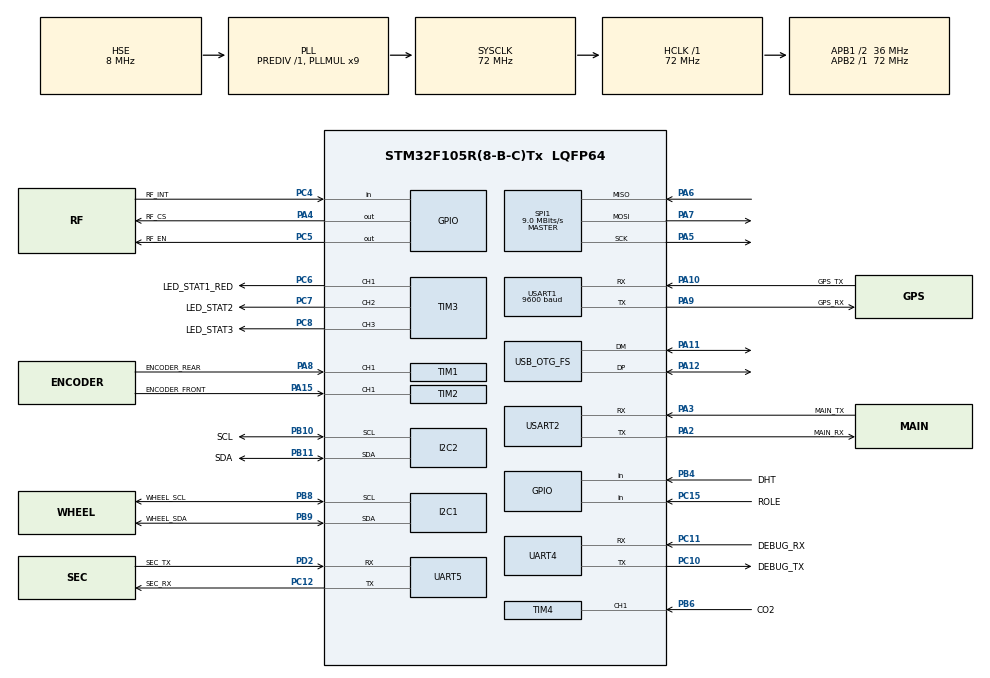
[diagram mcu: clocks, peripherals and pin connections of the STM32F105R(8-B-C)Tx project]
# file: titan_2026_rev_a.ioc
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Dma.Request0=USART1_RX
Dma.Request1=USART2_TX
Dma.USART1_RX.0.Direction=DMA_PERIPH_TO_MEMORY
Dma.USART1_RX.0.Instance=DMA1_Channel5
Dma.USART1_RX.0.MemDataAlignment=DMA_MDATAALIGN_BYTE
Dma.USART1_RX.0.MemInc=DMA_MINC_ENABLE
Dma.USART1_RX.0.Mode=DMA_CIRCULAR
Dma.USART1_RX.0.PeriphDataAlignment=DMA_PDATAALIGN_BYTE
Dma.USART1_RX.0.PeriphInc=DMA_PINC_DISABLE
Dma.USART1_RX.0.Priority=DMA_PRIORITY_MEDIUM
Dma.USART2_TX.1.Direction=DMA_MEMORY_TO_PERIPH
Dma.USART2_TX.1.Instance=DMA1_Channel7
Dma.USART2_TX.1.MemDataAlignment=DMA_MDATAALIGN_BYTE
Dma.USART2_TX.1.MemInc=DMA_MINC_ENABLE
Dma.USART2_TX.1.Mode=DMA_NORMAL
Dma.USART2_TX.1.PeriphDataAlignment=DMA_PDATAALIGN_BYTE
Dma.USART2_TX.1.PeriphInc=DMA_PINC_DISABLE
Dma.USART2_TX.1.Priority=DMA_PRIORITY_LOW
I2C1.I2C_Mode=I2C_Standard
I2C2.I2C_Mode=I2C_Fast
IWDG.Prescaler=IWDG_PRESCALER_16
Mcu.Family=STM32F1
Mcu.Name=STM32F105R(8-B-C)Tx
Mcu.Package=LQFP64
Mcu.UserConstants=REAR_ENC_TIMER,$$_TIM1_IP_HANDLE_$$;PRIM_UART,$$_USART2_IP_HANDLE_$$;DEBUG_UART,$$_UART4_IP_HANDLE_$$;CO2_TIMER,$$_TIM4_IP_HANDLE_$$;FRONT_ENC_TIMER,$$_TIM2_IP_HANDLE_$$;GPS_UART,$$_USART1_IP_HANDLE_$$;LED_TIMER,$$_TIM3_IP_HANDLE_$$;SEC_UART,$$_UART5_IP_HANDLE_$$;WHEEL_I2C,$$_I2C1_IP_HANDLE_$$;MAIN_I2C,$$_I2C2_IP_HANDLE_$$;RADIO_SPI,$$_SPI1_IP_HANDLE_$$;MICROS_TIMER,$$_TIM6_IP_HANDLE_$$
NVIC.DMA1_Channel5_IRQn=true\:0\:0\:false\:false\:true\:false\:true\:true
NVIC.DMA1_Channel7_IRQn=true\:0\:0\:false\:false\:true\:false\:true\:true
NVIC.OTG_FS_IRQn=true\:0\:0\:false\:false\:true\:false\:true\:true
NVIC.PriorityGroup=NVIC_PRIORITYGROUP_4
NVIC.TIM1_CC_IRQn=true\:0\:0\:false\:false\:true\:true\:true\:true
NVIC.TIM2_IRQn=true\:0\:0\:false\:false\:true\:true\:true\:true
NVIC.TIM4_IRQn=true\:0\:0\:false\:false\:true\:true\:true\:true
NVIC.UART5_IRQn=true\:0\:0\:false\:false\:true\:true\:true\:true
NVIC.USART1_IRQn=true\:0\:0\:false\:false\:true\:true\:true\:true
NVIC.USART2_IRQn=true\:0\:0\:false\:false\:true\:true\:true\:true
PA10.GPIO_Label=GPS_TX
PA10.Mode=Asynchronous
PA10.Signal=USART1_RX
PA11.Mode=Device_Only
PA11.Signal=USB_OTG_FS_DM
PA12.Mode=Device_Only
PA12.Signal=USB_OTG_FS_DP
PA13.Mode=Trace_Asynchronous_SW
PA13.Signal=SYS_JTMS-SWDIO
PA14.Mode=Trace_Asynchronous_SW
PA14.Signal=SYS_JTCK-SWCLK
PA15.GPIO_Label=ENCODER_FRONT
PA15.GPIO_PuPd=GPIO_PULLDOWN
PA15.Signal=S_TIM2_CH1_ETR
PA2.GPIO_Label=MAIN_RX
PA2.Mode=Asynchronous
PA2.Signal=USART2_TX
PA3.GPIO_Label=MAIN_TX
PA3.Mode=Asynchronous
PA3.Signal=USART2_RX
PA4.GPIO_Label=RF_CS
PA4.GPIO_Speed=GPIO_SPEED_FREQ_HIGH
PA4.PinState=GPIO_PIN_SET
PA4.Signal=GPIO_Output
PA5.Mode=Full_Duplex_Master
PA5.Signal=SPI1_SCK
PA6.Mode=Full_Duplex_Master
PA6.Signal=SPI1_MISO
PA7.Mode=Full_Duplex_Master
PA7.Signal=SPI1_MOSI
PA8.GPIO_Label=ENCODER_REAR
PA8.GPIO_PuPd=GPIO_PULLDOWN
PA8.Signal=S_TIM1_CH1
PA9.GPIO_Label=GPS_RX
PA9.Mode=Asynchronous
PA9.Signal=USART1_TX
PB10.GPIO_Label=SCL
PB10.Mode=I2C
PB10.Signal=I2C2_SCL
PB11.GPIO_Label=SDA
PB11.Mode=I2C
PB11.Signal=I2C2_SDA
PB3.Mode=Trace_Asynchronous_SW
PB3.Signal=SYS_TRACESWO
PB4.GPIO_Label=DHT
PB4.Signal=GPIO_Input
PB6.GPIO_Label=CO2
PB6.GPIO_PuPd=GPIO_PULLDOWN
PB6.Signal=S_TIM4_CH1
PB8.GPIO_Label=WHEEL_SCL
PB8.Mode=I2C
PB8.Signal=I2C1_SCL
PB9.GPIO_Label=WHEEL_SDA
PB9.Mode=I2C
PB9.Signal=I2C1_SDA
PC10.GPIO_Label=DEBUG_TX
PC10.Mode=Asynchronous
PC10.Signal=UART4_TX
PC11.GPIO_Label=DEBUG_RX
PC11.Mode=Asynchronous
PC11.Signal=UART4_RX
PC12.GPIO_Label=SEC_RX
PC12.Mode=Asynchronous
PC12.Signal=UART5_TX
PC15-OSC32_OUT.GPIO_Label=ROLE
PC15-OSC32_OUT.Signal=GPIO_Input
PC4.GPIO_Label=RF_INT
PC4.GPIO_PuPd=GPIO_PULLUP
PC4.Signal=GPIO_Input
PC5.GPIO_Label=RF_EN
PC5.GPIO_Speed=GPIO_SPEED_FREQ_MEDIUM
PC5.Signal=GPIO_Output
PC6.GPIO_Label=LED_STAT1_RED
PC6.Signal=S_TIM3_CH1
PC7.GPIO_Label=LED_STAT2
PC7.Signal=S_TIM3_CH2
PC8.GPIO_Label=LED_STAT3
PC8.Signal=S_TIM3_CH3
PD0-OSC_IN.Mode=HSE-External-Oscillator
PD0-OSC_IN.Signal=RCC_OSC_IN
PD1-OSC_OUT.Mode=HSE-External-Oscillator
PD1-OSC_OUT.Signal=RCC_OSC_OUT
PD2.GPIO_Label=SEC_TX
PD2.Mode=Asynchronous
PD2.Signal=UART5_RX
ProjectManager.HeapSize=0x200
ProjectManager.StackSize=0x400
ProjectManager.TargetToolchain=STM32CubeIDE
RCC.AHBFreq_Value=72000000
RCC.APB1CLKDivider=RCC_HCLK_DIV2
RCC.APB1Freq_Value=36000000
RCC.APB1TimFreq_Value=72000000
RCC.APB2Freq_Value=72000000
RCC.APB2TimFreq_Value=72000000
RCC.HCLKFreq_Value=72000000
RCC.PLLMUL=RCC_PLL_MUL9
RCC.SYSCLKFreq_VALUE=72000000
RCC.SYSCLKSource=RCC_SYSCLKSOURCE_PLLCLK
RCC.USBFreq_Value=48000000
SH.S_TIM1_CH1.0=TIM1_CH1,Input_Capture1_from_TI1
SH.S_TIM1_CH1.1=TIM1_CH1,TriggerSource_TI1FP1
SH.S_TIM2_CH1_ETR.0=TIM2_CH1,Input_Capture1_from_TI1
SH.S_TIM2_CH1_ETR.1=TIM2_CH1,TriggerSource_TI1FP1
SH.S_TIM3_CH1.0=TIM3_CH1,PWM Generation1 CH1
SH.S_TIM3_CH2.0=TIM3_CH2,PWM Generation2 CH2
SH.S_TIM3_CH3.0=TIM3_CH3,PWM Generation3 CH3
SH.S_TIM4_CH1.0=TIM4_CH1,PWM_Input_1
SPI1.BaudRatePrescaler=SPI_BAUDRATEPRESCALER_8
SPI1.CalculateBaudRate=9.0 MBits/s
SPI1.Direction=SPI_DIRECTION_2LINES
SPI1.Mode=SPI_MODE_MASTER
SPI1.VirtualType=VM_MASTER
TIM1.Channel-Input_Capture1_from_TI1=TIM_CHANNEL_1
TIM1.Channel-Output\ Compare2\ No\ Output=TIM_CHANNEL_2
TIM1.ICFilter_CH1=10
TIM1.OCMode_2=TIM_OCMODE_TOGGLE
TIM1.Prescaler=215
TIM1.Pulse-Output\ Compare2\ No\ Output=65000
TIM1.TIM_MasterOutputTrigger=TIM_TRGO_UPDATE
TIM2.AutoReloadPreload=TIM_AUTORELOAD_PRELOAD_DISABLE
TIM2.Channel-Input_Capture1_from_TI1=TIM_CHANNEL_1
TIM2.Channel-Output\ Compare2\ No\ Output=TIM_CHANNEL_2
TIM2.ICFilter_CH1=10
TIM2.OCMode_2=TIM_OCMODE_TOGGLE
TIM2.Prescaler=215
TIM2.Pulse-Output\ Compare2\ No\ Output=65000
TIM2.TIM_MasterOutputTrigger=TIM_TRGO_UPDATE
TIM3.Channel-PWM\ Generation1\ CH1=TIM_CHANNEL_1
TIM3.Channel-PWM\ Generation2\ CH2=TIM_CHANNEL_2
TIM3.Channel-PWM\ Generation3\ CH3=TIM_CHANNEL_3
TIM3.OCMode_PWM-PWM\ Generation1\ CH1=TIM_OCMODE_PWM1
TIM3.Pulse-PWM\ Generation1\ CH1=0
TIM3.Pulse-PWM\ Generation2\ CH2=10000
TIM3.Pulse-PWM\ Generation3\ CH3=50000
TIM4.ICFilter_1=15
TIM4.ICFilter_2=15
TIM4.ICPolarity_1=TIM_INPUTCHANNELPOLARITY_RISING
TIM4.Prescaler=1207
TIM6.Prescaler=71
UART4.VirtualMode=Asynchronous
UART5.VirtualMode=Asynchronous
USART1.BaudRate=9600
USART1.VirtualMode=VM_ASYNC
USART2.VirtualMode=VM_ASYNC
USB_DEVICE.CLASS_NAME_FS=CDC
USB_DEVICE.MANUFACTURER_STRING=HPTN
USB_DEVICE.PID_CDC_FS=64081
USB_DEVICE.PRODUCT_STRING_CDC_FS=TITAN 2026 Rev. A
USB_DEVICE.VID=51888
USB_DEVICE.VirtualMode=Cdc
USB_DEVICE.VirtualModeFS=Cdc_FS
USB_OTG_FS.VirtualMode=Device_Only
VP_IWDG_VS_IWDG.Mode=IWDG_Activate
VP_TIM1_VS_ClockSourceINT.Mode=Internal
VP_TIM1_VS_ControllerModeReset.Mode=Reset Mode
VP_TIM1_VS_no_output2.Mode=Output Compare2 No Output
VP_TIM2_VS_ClockSourceINT.Mode=Internal
VP_TIM2_VS_ControllerModeReset.Mode=Reset Mode
VP_TIM2_VS_no_output2.Mode=Output Compare2 No Output
VP_TIM3_VS_ClockSourceINT.Mode=Internal
VP_TIM4_VS_ClockSourceINT.Mode=Internal
VP_TIM6_VS_ClockSourceINT.Mode=Enable_Timer
VP_USB_DEVICE_VS_USB_DEVICE_CDC_FS.Mode=CDC_FS
board=custom

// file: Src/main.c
/* USER CODE BEGIN Header */
/**
  ******************************************************************************
  * @file           : main.c
  * @brief          : Main program body
  ******************************************************************************
  * @attention
  *
  * Copyright (c) 2026 STMicroelectronics.
  * All rights reserved.
  *
  * This software is licensed under terms that can be found in the LICENSE file
  * in the root directory of this software component.
  * If no LICENSE file comes with this software, it is provided AS-IS.
  *
  ******************************************************************************
  */
/* USER CODE END Header */
#include "main.h"
#include "usb_device.h"

/* USER CODE BEGIN Includes */
#include <stdbool.h>
#include "atmosphere.h"
#include "minmea.h"
#include "titan_data.h"
#include "communication.h"
#include "../Drivers/stm32_hal_nrf24_library/NRF24.h"
/* USER CODE END Includes */

I2C_HandleTypeDef hi2c1;
I2C_HandleTypeDef hi2c2;

IWDG_HandleTypeDef hiwdg;

SPI_HandleTypeDef hspi1;

TIM_HandleTypeDef htim1;
TIM_HandleTypeDef htim2;
TIM_HandleTypeDef htim3;
TIM_HandleTypeDef htim4;
TIM_HandleTypeDef htim6;

UART_HandleTypeDef huart4;
UART_HandleTypeDef huart5;
UART_HandleTypeDef huart1;
UART_HandleTypeDef huart2;
DMA_HandleTypeDef hdma_usart1_rx;
DMA_HandleTypeDef hdma_usart2_tx;

/* USER CODE BEGIN PV */
volatile uint16_t mh_z19_co2_ppm = 0;

volatile uint16_t gps_message_length = 0;
volatile uint16_t rpi_message_length = 0;
volatile uint16_t stm_message_length = 0;

const uint32_t I2C_TIMEOUT = 10; // Timeout to be used for I2C interactions

volatile struct TitanSummary summary __attribute__((noinit)); // Preserve data in RAM between boots

// Starting point latitude
const float STARTING_LONGITUDE = -117.043375;
const float STARTING_LATITUDE = 40.393598;

uint8_t rx_addr[5] = {'1', 'N', 'o', 'd', 'e'};
uint8_t tx_addr[5] = {'2', 'N', 'o', 'd', 'e'};

const uint8_t LED_ERROR = 1;
const uint8_t LED_GPS = 2;

const float WHEEL_CIRCUMFERENCE_M = 2.136;
/* USER CODE END PV */

void SystemClock_Config(void);
static void MX_GPIO_Init(void);
static void MX_DMA_Init(void);
static void MX_TIM3_Init(void);
static void MX_I2C1_Init(void);
static void MX_I2C2_Init(void);
static void MX_SPI1_Init(void);
static void MX_TIM4_Init(void);
static void MX_UART4_Init(void);
static void MX_UART5_Init(void);
static void MX_USART1_UART_Init(void);
static void MX_USART2_UART_Init(void);
static void MX_TIM1_Init(void);
static void MX_TIM2_Init(void);
static void MX_IWDG_Init(void);
static void MX_TIM6_Init(void);
/* USER CODE BEGIN PFP */
#ifdef __GNUC__
/* With GCC/RAISONANCE, small printf (option LD Linker->Libraries->Small printf
   set to 'Yes') calls __io_putchar() */
#define PUTCHAR_PROTOTYPE int __io_putchar(int ch)
#else
#define PUTCHAR_PROTOTYPE int fputc(int ch, FILE *f)
#endif /* __GNUC__ */
/* USER CODE END PFP */

/* USER CODE BEGIN 0 */
static HAL_StatusTypeDef led_set_duty(uint8_t led, uint16_t duty) {
	TIM_OC_InitTypeDef sConfigOC = {0};
	sConfigOC.OCMode = TIM_OCMODE_PWM1;
	sConfigOC.Pulse = duty;
	sConfigOC.OCPolarity = TIM_OCPOLARITY_HIGH;
	sConfigOC.OCFastMode = TIM_OCFAST_DISABLE;

	switch (led) {
	case 1:
		return HAL_TIM_PWM_ConfigChannel(&LED_TIMER, &sConfigOC, TIM_CHANNEL_1);
	case 2:
		return HAL_TIM_PWM_ConfigChannel(&LED_TIMER, &sConfigOC, TIM_CHANNEL_2);
	case 3:
		return HAL_TIM_PWM_ConfigChannel(&LED_TIMER, &sConfigOC, TIM_CHANNEL_3);
	default:
		return HAL_ERROR; // Unrecognized LED number
	}

	return HAL_ERROR; // This shouldn't ever be reached
}

static HAL_StatusTypeDef led_sawtooth(uint8_t led) {
	if (led < 1 || led > 3) return HAL_ERROR;

	static uint32_t next_tick[3] = {0, 0, 0};
	static uint32_t current_duty[3] = {0, 0, 0};
	const uint32_t INCREMENT_PERIOD_TICKS[3] = {10, 10, 10};
	const uint16_t MAX_DUTY[3] = {UINT16_MAX / 128, UINT16_MAX, UINT16_MAX};
	const uint16_t DUTY_INCREMENT[3] = {UINT16_MAX / (128 * 500), UINT16_MAX / 200, UINT16_MAX / 200};

	const uint32_t CURRENT_TICK = HAL_GetTick();

	if (CURRENT_TICK < next_tick[led]) return HAL_OK;

	next_tick[led] = CURRENT_TICK + INCREMENT_PERIOD_TICKS[led];

	current_duty[led] = current_duty[led] + DUTY_INCREMENT[led];
	if (current_duty[led] >= MAX_DUTY[led]) current_duty[led] = 0;

	return led_set_duty(led, current_duty[led]);
}
/* USER CODE END 0 */

int main(void)
{

  /* USER CODE BEGIN 1 */
	const uint32_t RESET_CODES = RCC->CSR; // Record before they might get cleared
  /* USER CODE END 1 */

  /* MCU Configuration--------------------------------------------------------*/

  /* Reset of all peripherals, Initializes the Flash interface and the Systick. */
  HAL_Init();

  /* Configure the system clock */
  SystemClock_Config();

  /* USER CODE BEGIN SysInit */
  	RCC->CSR = RCC->CSR | RCC_CSR_RMVF; // Clear reset cause for the next run

  	// Check to preserve to ensure data is kept rather than only if it should be cleared since the two may overlap
  	const uint32_t RESETS_TO_PRESERVE_DATA_MASK = RCC_CSR_IWDGRSTF | RCC_CSR_WWDGRSTF | RCC_CSR_SFTRSTF;
  	const bool PRESERVE_DATA = (RESET_CODES & RESETS_TO_PRESERVE_DATA_MASK) != 0;
	if (!PRESERVE_DATA) {
		memset(&summary, 0, sizeof(summary));

    // Non-zero default values
		summary.gps.start_latitude_deg = STARTING_LATITUDE;
		summary.gps.start_longitude_deg = STARTING_LONGITUDE;
	}
  /* USER CODE END SysInit */

  /* Initialize all configured peripherals */
  MX_GPIO_Init();
  MX_DMA_Init();
  MX_TIM3_Init();
  MX_I2C1_Init();
  MX_I2C2_Init();
  MX_SPI1_Init();
  MX_TIM4_Init();
  MX_UART4_Init();
  MX_UART5_Init();
  MX_USART1_UART_Init();
  MX_USART2_UART_Init();
  MX_USB_DEVICE_Init();
  MX_TIM1_Init();
  MX_TIM2_Init();
  MX_IWDG_Init();
  MX_TIM6_Init();
  /* USER CODE BEGIN 2 */
	setbuf(stdin, NULL); //TO HANDLE INPUT BUFFER WHEN USING SCANF/COUT IN C++
	printf("\r\n=========================================\r\n           Starting TITAN 2026\r\n=========================================\r\n");
	if (PRESERVE_DATA) printf("\tData preserved (watchdog reset)\r\n");
	else printf("\tData cleared to defaults\r\n");

	bool non_critical_error = false;
	bool critical_error = false;

	// Start timers once everything's initialized properly
	HAL_TIM_IC_Start_IT(&REAR_ENC_TIMER, TIM_CHANNEL_1);
	HAL_TIM_OC_Start_IT(&REAR_ENC_TIMER, TIM_CHANNEL_2);
	HAL_TIM_IC_Start_IT(&FRONT_ENC_TIMER, TIM_CHANNEL_1);
	HAL_TIM_OC_Start_IT(&FRONT_ENC_TIMER, TIM_CHANNEL_2);
	HAL_TIM_Base_Start_IT(&CO2_TIMER); // Sets up for period elapsed interrupt
	HAL_TIM_IC_Start(&CO2_TIMER, TIM_CHANNEL_1); // Don't care for interrupt on capture here
	HAL_TIM_IC_Start_IT(&CO2_TIMER, TIM_CHANNEL_2);

	HAL_StatusTypeDef ret;
	ret = setup_battery_monitoring(&MAIN_I2C, I2C_TIMEOUT);
	if (ret != HAL_OK) non_critical_error = true;

	ret = atmo_setup(&MAIN_I2C, I2C_TIMEOUT);
	if (ret != HAL_OK) non_critical_error = true;

	ret = setup_brake_disk_sensors(&WHEEL_I2C, I2C_TIMEOUT);
	if (ret != HAL_OK) non_critical_error = true;

	const uint16_t GPS_BUFFER_SIZE = 500;
	char gps_buffer[GPS_BUFFER_SIZE] = {};

	const uint16_t COMMS_BUFFER_SIZE = 64; // Buffer size for data communication buffers
	char rpi_buffer_in[COMMS_BUFFER_SIZE] = {};
	char stm_buffer_in[COMMS_BUFFER_SIZE] = {};
	char rpi_buffer_out[COMMS_BUFFER_SIZE] = {};
	char stm_buffer_out[COMMS_BUFFER_SIZE] = {};

	struct CommunicationInterface primary = { // GPS should never send so don't bother much with it
			.name = "primary",
			.buffer_in = rpi_buffer_in,
			.buffer_in_length = COMMS_BUFFER_SIZE,
			.available_bytes_to_read = &rpi_message_length,
			.buffer_out = rpi_buffer_out,
			.buffer_out_length = COMMS_BUFFER_SIZE,
			.type = INTERFACE_UART_TITAN,
			.prime_read_function = HAL_UARTEx_ReceiveToIdle_IT,
			.send_function = HAL_UART_Transmit_DMA,
			.uart = &PRIM_UART
	};

	struct CommunicationInterface secondary = { // GPS should never send so don't bother much with it
			.name = "secondary",
			.buffer_in = stm_buffer_in,
			.buffer_in_length = COMMS_BUFFER_SIZE,
			.available_bytes_to_read = &stm_message_length,
			.buffer_out = stm_buffer_out,
			.buffer_out_length = COMMS_BUFFER_SIZE,
			.type = INTERFACE_UART_TITAN,
			.prime_read_function = HAL_UARTEx_ReceiveToIdle_IT,
			.send_function = HAL_UART_Transmit_IT,
			.uart = &SEC_UART
	};

	while (GPS_UART.RxState != HAL_UART_STATE_READY) {
		// Wait until ready to receive
	}
	HAL_UART_Receive_DMA(&GPS_UART, (uint8_t*) gps_buffer, GPS_BUFFER_SIZE);

	ret = setup_interface(&primary);
	if (ret != HAL_OK) critical_error = true;
	ret = setup_interface(&secondary);
	if (ret != HAL_OK) critical_error = true;

	struct NRFConfig radio_ext = {
			.hspiX = &RADIO_SPI,
			.spi_w_timeout = 1000,
			.spi_r_timeout = 1000,
			.spi_rw_timeout = 1000,

			.csn_gpio_port = RF_CS_GPIO_Port,
			.csn_gpio_pin = RF_CS_Pin,

			.ce_gpio_port = RF_EN_GPIO_Port,
			.ce_gpio_pin = RF_EN_Pin,
	};

	// Configure radio for dynamic length payloads, although most will be the same length
	ret = nrf24_init(radio_ext, &MICROS_TIMER);
	const bool RADIO_PRESENT = ret == HAL_OK;
	if (RADIO_PRESENT) {
		nrf24_open_tx_pipe(radio_ext, tx_addr);
		nrf24_dpl(radio_ext, enable);
		nrf24_set_rx_dpl(radio_ext, 0, enable);

		nrf24_stop_listen(radio_ext);
		ce_high(radio_ext);
		printf("nRF24 detected and configured to broadcast\n\r");
	}
	else {
		printf("nRF24 not detected, broadcasting will be disabled\n\r");
		// non_critical_error = true; // Radio not installed on any boards used for TITAN so ignore issues
	}

	if (critical_error) {
		Error_Handler();
	}
  /* USER CODE END 2 */

  /* Infinite loop */
  /* USER CODE BEGIN WHILE */
	while (1) {
#ifdef DEBUG
		uint32_t start_loop = MICROS_TIMER.Instance->CNT;
#endif
		HAL_IWDG_Refresh(&hiwdg);

		if (non_critical_error) {
//			led_set_duty(ERROR_LED, UINT16_MAX / 128); // Dim red if systems are diminished but functioning
			led_sawtooth(LED_ERROR); // Cycle error LED slowly
		}
		else led_set_duty(LED_ERROR, 0);
    /* USER CODE END WHILE */

    /* USER CODE BEGIN 3 */
		ret = atmo_conditions_update((struct TitanSummary*) &summary, (uint16_t) mh_z19_co2_ppm);
		ret = read_battery_level((int8_t*)&summary.primary_battery_soc, (int8_t*)&summary.secondary_battery_soc);
		ret = operate_brake_disk_sensors(&summary.front_wheel.brake_disk_temperature_c, &summary.rear_wheel.brake_disk_temperature_c);

		summarize_wheel_data(&summary);

		// Check status of GPS input buffer, takes up to 400 us in Release
#ifdef DEBUG
		uint32_t start = MICROS_TIMER.Instance->CNT;
#endif
		uint_fast16_t current_gps_writing_index = GPS_BUFFER_SIZE - __HAL_DMA_GET_COUNTER(GPS_UART.hdmarx);
		uint_fast16_t last_gps_written_index = (current_gps_writing_index == 0) ? GPS_BUFFER_SIZE - 1 : current_gps_writing_index - 1;
		static uint16_t gps_message_start_index = 0;
		if (gps_buffer[last_gps_written_index] == '\n') {
			bool processed_ok = false;

			if (gps_message_start_index < last_gps_written_index) {
				processed_ok = minmea_process_buffer(&gps_buffer[gps_message_start_index], last_gps_written_index - gps_message_start_index, &summary.gps);
			}
			else {
				// Handle the roll over by copying to a temporary buffer
				char temp_gps[GPS_BUFFER_SIZE];
				uint_fast16_t tail_portion = GPS_BUFFER_SIZE - gps_message_start_index; // In an array of 10 if we start at 6 and need to go to index 2, there are 4 in the tail, 3 in the start
				uint_fast16_t gps_message_length = tail_portion + last_gps_written_index + 1; // +1 to account for zeroth index

				memcpy(temp_gps, &gps_buffer[gps_message_start_index], tail_portion);
				memcpy(&temp_gps[tail_portion], gps_buffer, last_gps_written_index);

				processed_ok = minmea_process_buffer(temp_gps, gps_message_length, &summary.gps);
			}
			// Next message will start after newline
			gps_message_start_index = last_gps_written_index + 1;
			if (gps_message_start_index >= GPS_BUFFER_SIZE) gps_message_start_index = 0;

#ifdef DEBUG
			if (summary.gps.valid_position) {
				uint32_t end = MICROS_TIMER.Instance->CNT;
				uint32_t delta = end - start;
				if (end < start) delta = (end + UINT16_MAX) - start; // Handle rollovers

				printf("GPS processing with a lock took about %lu us\n\r", delta);
			}
#endif
		}
		if (summary.gps.valid_position) {
			led_set_duty(LED_GPS, UINT16_MAX);
		}
		else {
			led_sawtooth(LED_GPS);
		}

		ret = operate_interface(&primary, &summary);
		ret = operate_interface(&secondary, &summary);

		static uint32_t next_broadcast_tick = 0;
		const uint32_t BROADCAST_PERIOD_MS = 500;
		const uint32_t CURRENT_TICK = HAL_GetTick();
		if (CURRENT_TICK > next_broadcast_tick && RADIO_PRESENT) {
			uint8_t trigger_message[] = "{"; // Constantly broadcast summary of TITAN
			uint8_t radio_out[32];
			uint16_t radio_out_length;

			enum MessageStatus status = process_message(&summary, trigger_message, 1, radio_out, sizeof(radio_out)/sizeof(radio_out[0]), &radio_out_length);
			if (status == MESSAGE_PARSED_OK_SEND_RESPONSE) {
				uint8_t radio_err = nrf24_transmit(radio_ext, radio_out, radio_out_length);
#ifdef DEBUG
				switch (radio_err) {
					case 0: // OK
						break;
					case 1:
						printf("Failed radio broadcast: too many retransmissions\r\n");
						break;
					default:
						printf("Failed radio broadcast: %d\r\n", radio_err);
						break;
				}
#endif
			}
			next_broadcast_tick = BROADCAST_PERIOD_MS + CURRENT_TICK;
		}

#ifdef DEBUG
		uint32_t end_loop = MICROS_TIMER.Instance->CNT;
		uint32_t delta_loop = end_loop - start_loop;
		if (end_loop < start_loop) delta_loop = (end_loop + UINT16_MAX) - start_loop; // Handle rollovers

		printf("Loop took about %lu us\n\r", delta_loop);
#endif
	}
  /* USER CODE END 3 */
}

void SystemClock_Config(void)
{
  RCC_OscInitTypeDef RCC_OscInitStruct = {0};
  RCC_ClkInitTypeDef RCC_ClkInitStruct = {0};
  RCC_PeriphCLKInitTypeDef PeriphClkInit = {0};

  /** Initializes the RCC Oscillators according to the specified parameters
  * in the RCC_OscInitTypeDef structure.
  */
  RCC_OscInitStruct.OscillatorType = RCC_OSCILLATORTYPE_LSI|RCC_OSCILLATORTYPE_HSE;
  RCC_OscInitStruct.HSEState = RCC_HSE_ON;
  RCC_OscInitStruct.HSEPredivValue = RCC_HSE_PREDIV_DIV1;
  RCC_OscInitStruct.HSIState = RCC_HSI_ON;
  RCC_OscInitStruct.LSIState = RCC_LSI_ON;
  RCC_OscInitStruct.Prediv1Source = RCC_PREDIV1_SOURCE_HSE;
  RCC_OscInitStruct.PLL.PLLState = RCC_PLL_ON;
  RCC_OscInitStruct.PLL.PLLSource = RCC_PLLSOURCE_HSE;
  RCC_OscInitStruct.PLL.PLLMUL = RCC_PLL_MUL9;
  RCC_OscInitStruct.PLL2.PLL2State = RCC_PLL_NONE;
  if (HAL_RCC_OscConfig(&RCC_OscInitStruct) != HAL_OK)
  {
    Error_Handler();
  }

  /** Initializes the CPU, AHB and APB buses clocks
  */
  RCC_ClkInitStruct.ClockType = RCC_CLOCKTYPE_HCLK|RCC_CLOCKTYPE_SYSCLK
                              |RCC_CLOCKTYPE_PCLK1|RCC_CLOCKTYPE_PCLK2;
  RCC_ClkInitStruct.SYSCLKSource = RCC_SYSCLKSOURCE_PLLCLK;
  RCC_ClkInitStruct.AHBCLKDivider = RCC_SYSCLK_DIV1;
  RCC_ClkInitStruct.APB1CLKDivider = RCC_HCLK_DIV2;
  RCC_ClkInitStruct.APB2CLKDivider = RCC_HCLK_DIV1;

  if (HAL_RCC_ClockConfig(&RCC_ClkInitStruct, FLASH_LATENCY_2) != HAL_OK)
  {
    Error_Handler();
  }
  PeriphClkInit.PeriphClockSelection = RCC_PERIPHCLK_USB;
  PeriphClkInit.UsbClockSelection = RCC_USBCLKSOURCE_PLL_DIV3;
  if (HAL_RCCEx_PeriphCLKConfig(&PeriphClkInit) != HAL_OK)
  {
    Error_Handler();
  }

  /** Configure the Systick interrupt time
  */
  __HAL_RCC_PLLI2S_ENABLE();
}

static void MX_I2C1_Init(void)
{

  hi2c1.Instance = I2C1;
  hi2c1.Init.ClockSpeed = 100000;
  hi2c1.Init.DutyCycle = I2C_DUTYCYCLE_2;
  hi2c1.Init.OwnAddress1 = 0;
  hi2c1.Init.AddressingMode = I2C_ADDRESSINGMODE_7BIT;
  hi2c1.Init.DualAddressMode = I2C_DUALADDRESS_DISABLE;
  hi2c1.Init.OwnAddress2 = 0;
  hi2c1.Init.GeneralCallMode = I2C_GENERALCALL_DISABLE;
  hi2c1.Init.NoStretchMode = I2C_NOSTRETCH_DISABLE;
  if (HAL_I2C_Init(&hi2c1) != HAL_OK)
  {
    Error_Handler();
  }

}

static void MX_I2C2_Init(void)
{

  hi2c2.Instance = I2C2;
  hi2c2.Init.ClockSpeed = 400000;
  hi2c2.Init.DutyCycle = I2C_DUTYCYCLE_2;
  hi2c2.Init.OwnAddress1 = 0;
  hi2c2.Init.AddressingMode = I2C_ADDRESSINGMODE_7BIT;
  hi2c2.Init.DualAddressMode = I2C_DUALADDRESS_DISABLE;
  hi2c2.Init.OwnAddress2 = 0;
  hi2c2.Init.GeneralCallMode = I2C_GENERALCALL_DISABLE;
  hi2c2.Init.NoStretchMode = I2C_NOSTRETCH_DISABLE;
  if (HAL_I2C_Init(&hi2c2) != HAL_OK)
  {
    Error_Handler();
  }

}

static void MX_IWDG_Init(void)
{

  hiwdg.Instance = IWDG;
  hiwdg.Init.Prescaler = IWDG_PRESCALER_16;
  hiwdg.Init.Reload = 4095;
  if (HAL_IWDG_Init(&hiwdg) != HAL_OK)
  {
    Error_Handler();
  }

}

static void MX_SPI1_Init(void)
{

  /* SPI1 parameter configuration*/
  hspi1.Instance = SPI1;
  hspi1.Init.Mode = SPI_MODE_MASTER;
  hspi1.Init.Direction = SPI_DIRECTION_2LINES;
  hspi1.Init.DataSize = SPI_DATASIZE_8BIT;
  hspi1.Init.CLKPolarity = SPI_POLARITY_LOW;
  hspi1.Init.CLKPhase = SPI_PHASE_1EDGE;
  hspi1.Init.NSS = SPI_NSS_SOFT;
  hspi1.Init.BaudRatePrescaler = SPI_BAUDRATEPRESCALER_8;
  hspi1.Init.FirstBit = SPI_FIRSTBIT_MSB;
  hspi1.Init.TIMode = SPI_TIMODE_DISABLE;
  hspi1.Init.CRCCalculation = SPI_CRCCALCULATION_DISABLE;
  hspi1.Init.CRCPolynomial = 10;
  if (HAL_SPI_Init(&hspi1) != HAL_OK)
  {
    Error_Handler();
  }

}

static void MX_TIM1_Init(void)
{

  TIM_ClockConfigTypeDef sClockSourceConfig = {0};
  TIM_SlaveConfigTypeDef sSlaveConfig = {0};
  TIM_MasterConfigTypeDef sMasterConfig = {0};
  TIM_IC_InitTypeDef sConfigIC = {0};
  TIM_OC_InitTypeDef sConfigOC = {0};
  TIM_BreakDeadTimeConfigTypeDef sBreakDeadTimeConfig = {0};

  htim1.Instance = TIM1;
  htim1.Init.Prescaler = 215;
  htim1.Init.CounterMode = TIM_COUNTERMODE_UP;
  htim1.Init.Period = 65535;
  htim1.Init.ClockDivision = TIM_CLOCKDIVISION_DIV1;
  htim1.Init.RepetitionCounter = 0;
  htim1.Init.AutoReloadPreload = TIM_AUTORELOAD_PRELOAD_DISABLE;
  if (HAL_TIM_Base_Init(&htim1) != HAL_OK)
  {
    Error_Handler();
  }
  sClockSourceConfig.ClockSource = TIM_CLOCKSOURCE_INTERNAL;
  if (HAL_TIM_ConfigClockSource(&htim1, &sClockSourceConfig) != HAL_OK)
  {
    Error_Handler();
  }
  if (HAL_TIM_IC_Init(&htim1) != HAL_OK)
  {
    Error_Handler();
  }
  if (HAL_TIM_OC_Init(&htim1) != HAL_OK)
  {
    Error_Handler();
  }
  sSlaveConfig.SlaveMode = TIM_SLAVEMODE_RESET;
  sSlaveConfig.InputTrigger = TIM_TS_TI1FP1;
  sSlaveConfig.TriggerPolarity = TIM_INPUTCHANNELPOLARITY_RISING;
  sSlaveConfig.TriggerFilter = 0;
  if (HAL_TIM_SlaveConfigSynchro(&htim1, &sSlaveConfig) != HAL_OK)
  {
    Error_Handler();
  }
  sMasterConfig.MasterOutputTrigger = TIM_TRGO_UPDATE;
  sMasterConfig.MasterSlaveMode = TIM_MASTERSLAVEMODE_DISABLE;
  if (HAL_TIMEx_MasterConfigSynchronization(&htim1, &sMasterConfig) != HAL_OK)
  {
    Error_Handler();
  }
  sConfigIC.ICPolarity = TIM_INPUTCHANNELPOLARITY_RISING;
  sConfigIC.ICSelection = TIM_ICSELECTION_DIRECTTI;
  sConfigIC.ICPrescaler = TIM_ICPSC_DIV1;
  sConfigIC.ICFilter = 10;
  if (HAL_TIM_IC_ConfigChannel(&htim1, &sConfigIC, TIM_CHANNEL_1) != HAL_OK)
  {
    Error_Handler();
  }
  sConfigOC.OCMode = TIM_OCMODE_TOGGLE;
  sConfigOC.Pulse = 65000;
  sConfigOC.OCPolarity = TIM_OCPOLARITY_HIGH;
  sConfigOC.OCNPolarity = TIM_OCNPOLARITY_HIGH;
  sConfigOC.OCFastMode = TIM_OCFAST_DISABLE;
  sConfigOC.OCIdleState = TIM_OCIDLESTATE_RESET;
  sConfigOC.OCNIdleState = TIM_OCNIDLESTATE_RESET;
  if (HAL_TIM_OC_ConfigChannel(&htim1, &sConfigOC, TIM_CHANNEL_2) != HAL_OK)
  {
    Error_Handler();
  }
  sBreakDeadTimeConfig.OffStateRunMode = TIM_OSSR_DISABLE;
  sBreakDeadTimeConfig.OffStateIDLEMode = TIM_OSSI_DISABLE;
  sBreakDeadTimeConfig.LockLevel = TIM_LOCKLEVEL_OFF;
  sBreakDeadTimeConfig.DeadTime = 0;
  sBreakDeadTimeConfig.BreakState = TIM_BREAK_DISABLE;
  sBreakDeadTimeConfig.BreakPolarity = TIM_BREAKPOLARITY_HIGH;
  sBreakDeadTimeConfig.AutomaticOutput = TIM_AUTOMATICOUTPUT_DISABLE;
  if (HAL_TIMEx_ConfigBreakDeadTime(&htim1, &sBreakDeadTimeConfig) != HAL_OK)
  {
    Error_Handler();
  }

}

static void MX_TIM2_Init(void)
{

  TIM_ClockConfigTypeDef sClockSourceConfig = {0};
  TIM_SlaveConfigTypeDef sSlaveConfig = {0};
  TIM_MasterConfigTypeDef sMasterConfig = {0};
  TIM_IC_InitTypeDef sConfigIC = {0};
  TIM_OC_InitTypeDef sConfigOC = {0};

  htim2.Instance = TIM2;
  htim2.Init.Prescaler = 215;
  htim2.Init.CounterMode = TIM_COUNTERMODE_UP;
  htim2.Init.Period = 65535;
  htim2.Init.ClockDivision = TIM_CLOCKDIVISION_DIV1;
  htim2.Init.AutoReloadPreload = TIM_AUTORELOAD_PRELOAD_DISABLE;
  if (HAL_TIM_Base_Init(&htim2) != HAL_OK)
  {
    Error_Handler();
  }
  sClockSourceConfig.ClockSource = TIM_CLOCKSOURCE_INTERNAL;
  if (HAL_TIM_ConfigClockSource(&htim2, &sClockSourceConfig) != HAL_OK)
  {
    Error_Handler();
  }
  if (HAL_TIM_IC_Init(&htim2) != HAL_OK)
  {
    Error_Handler();
  }
  if (HAL_TIM_OC_Init(&htim2) != HAL_OK)
  {
    Error_Handler();
  }
  sSlaveConfig.SlaveMode = TIM_SLAVEMODE_RESET;
  sSlaveConfig.InputTrigger = TIM_TS_TI1FP1;
  sSlaveConfig.TriggerPolarity = TIM_INPUTCHANNELPOLARITY_RISING;
  sSlaveConfig.TriggerFilter = 0;
  if (HAL_TIM_SlaveConfigSynchro(&htim2, &sSlaveConfig) != HAL_OK)
  {
    Error_Handler();
  }
  sMasterConfig.MasterOutputTrigger = TIM_TRGO_UPDATE;
  sMasterConfig.MasterSlaveMode = TIM_MASTERSLAVEMODE_DISABLE;
  if (HAL_TIMEx_MasterConfigSynchronization(&htim2, &sMasterConfig) != HAL_OK)
  {
    Error_Handler();
  }
  sConfigIC.ICPolarity = TIM_INPUTCHANNELPOLARITY_RISING;
  sConfigIC.ICSelection = TIM_ICSELECTION_DIRECTTI;
  sConfigIC.ICPrescaler = TIM_ICPSC_DIV1;
  sConfigIC.ICFilter = 10;
  if (HAL_TIM_IC_ConfigChannel(&htim2, &sConfigIC, TIM_CHANNEL_1) != HAL_OK)
  {
    Error_Handler();
  }
  sConfigOC.OCMode = TIM_OCMODE_TOGGLE;
  sConfigOC.Pulse = 65000;
  sConfigOC.OCPolarity = TIM_OCPOLARITY_HIGH;
  sConfigOC.OCFastMode = TIM_OCFAST_DISABLE;
  if (HAL_TIM_OC_ConfigChannel(&htim2, &sConfigOC, TIM_CHANNEL_2) != HAL_OK)
  {
    Error_Handler();
  }

}

static void MX_TIM3_Init(void)
{

  TIM_ClockConfigTypeDef sClockSourceConfig = {0};
  TIM_MasterConfigTypeDef sMasterConfig = {0};
  TIM_OC_InitTypeDef sConfigOC = {0};

  htim3.Instance = TIM3;
  htim3.Init.Prescaler = 0;
  htim3.Init.CounterMode = TIM_COUNTERMODE_UP;
  htim3.Init.Period = 65535;
  htim3.Init.ClockDivision = TIM_CLOCKDIVISION_DIV1;
  htim3.Init.AutoReloadPreload = TIM_AUTORELOAD_PRELOAD_DISABLE;
  if (HAL_TIM_Base_Init(&htim3) != HAL_OK)
  {
    Error_Handler();
  }
  sClockSourceConfig.ClockSource = TIM_CLOCKSOURCE_INTERNAL;
  if (HAL_TIM_ConfigClockSource(&htim3, &sClockSourceConfig) != HAL_OK)
  {
    Error_Handler();
  }
  if (HAL_TIM_PWM_Init(&htim3) != HAL_OK)
  {
    Error_Handler();
  }
  sMasterConfig.MasterOutputTrigger = TIM_TRGO_RESET;
  sMasterConfig.MasterSlaveMode = TIM_MASTERSLAVEMODE_DISABLE;
  if (HAL_TIMEx_MasterConfigSynchronization(&htim3, &sMasterConfig) != HAL_OK)
  {
    Error_Handler();
  }
  sConfigOC.OCMode = TIM_OCMODE_PWM1;
  sConfigOC.Pulse = 0;
  sConfigOC.OCPolarity = TIM_OCPOLARITY_HIGH;
  sConfigOC.OCFastMode = TIM_OCFAST_DISABLE;
  if (HAL_TIM_PWM_ConfigChannel(&htim3, &sConfigOC, TIM_CHANNEL_1) != HAL_OK)
  {
    Error_Handler();
  }
  sConfigOC.Pulse = 10000;
  if (HAL_TIM_PWM_ConfigChannel(&htim3, &sConfigOC, TIM_CHANNEL_2) != HAL_OK)
  {
    Error_Handler();
  }
  sConfigOC.Pulse = 50000;
  if (HAL_TIM_PWM_ConfigChannel(&htim3, &sConfigOC, TIM_CHANNEL_3) != HAL_OK)
  {
    Error_Handler();
  }
  /* USER CODE BEGIN TIM3_Init 2 */
  HAL_TIM_PWM_Start(&htim3, TIM_CHANNEL_1);
  HAL_TIM_PWM_Start(&htim3, TIM_CHANNEL_2);
  HAL_TIM_PWM_Start(&htim3, TIM_CHANNEL_3);
  /* USER CODE END TIM3_Init 2 */
  HAL_TIM_MspPostInit(&htim3);

}

static void MX_TIM4_Init(void)
{

  TIM_ClockConfigTypeDef sClockSourceConfig = {0};
  TIM_SlaveConfigTypeDef sSlaveConfig = {0};
  TIM_IC_InitTypeDef sConfigIC = {0};
  TIM_MasterConfigTypeDef sMasterConfig = {0};

  htim4.Instance = TIM4;
  htim4.Init.Prescaler = 1207;
  htim4.Init.CounterMode = TIM_COUNTERMODE_UP;
  htim4.Init.Period = 65535;
  htim4.Init.ClockDivision = TIM_CLOCKDIVISION_DIV1;
  htim4.Init.AutoReloadPreload = TIM_AUTORELOAD_PRELOAD_DISABLE;
  if (HAL_TIM_Base_Init(&htim4) != HAL_OK)
  {
    Error_Handler();
  }
  sClockSourceConfig.ClockSource = TIM_CLOCKSOURCE_INTERNAL;
  if (HAL_TIM_ConfigClockSource(&htim4, &sClockSourceConfig) != HAL_OK)
  {
    Error_Handler();
  }
  if (HAL_TIM_IC_Init(&htim4) != HAL_OK)
  {
    Error_Handler();
  }
  sSlaveConfig.SlaveMode = TIM_SLAVEMODE_RESET;
  sSlaveConfig.InputTrigger = TIM_TS_TI1FP1;
  sSlaveConfig.TriggerPolarity = TIM_INPUTCHANNELPOLARITY_RISING;
  sSlaveConfig.TriggerPrescaler = TIM_ICPSC_DIV1;
  sSlaveConfig.TriggerFilter = 15;
  if (HAL_TIM_SlaveConfigSynchro(&htim4, &sSlaveConfig) != HAL_OK)
  {
    Error_Handler();
  }
  sConfigIC.ICPolarity = TIM_INPUTCHANNELPOLARITY_RISING;
  sConfigIC.ICSelection = TIM_ICSELECTION_DIRECTTI;
  sConfigIC.ICPrescaler = TIM_ICPSC_DIV1;
  sConfigIC.ICFilter = 15;
  if (HAL_TIM_IC_ConfigChannel(&htim4, &sConfigIC, TIM_CHANNEL_1) != HAL_OK)
  {
    Error_Handler();
  }
  sConfigIC.ICPolarity = TIM_INPUTCHANNELPOLARITY_FALLING;
  sConfigIC.ICSelection = TIM_ICSELECTION_INDIRECTTI;
  if (HAL_TIM_IC_ConfigChannel(&htim4, &sConfigIC, TIM_CHANNEL_2) != HAL_OK)
  {
    Error_Handler();
  }
  sMasterConfig.MasterOutputTrigger = TIM_TRGO_RESET;
  sMasterConfig.MasterSlaveMode = TIM_MASTERSLAVEMODE_DISABLE;
  if (HAL_TIMEx_MasterConfigSynchronization(&htim4, &sMasterConfig) != HAL_OK)
  {
    Error_Handler();
  }

}

static void MX_TIM6_Init(void)
{

  TIM_MasterConfigTypeDef sMasterConfig = {0};

  htim6.Instance = TIM6;
  htim6.Init.Prescaler = 71;
  htim6.Init.CounterMode = TIM_COUNTERMODE_UP;
  htim6.Init.Period = 65535;
  htim6.Init.AutoReloadPreload = TIM_AUTORELOAD_PRELOAD_DISABLE;
  if (HAL_TIM_Base_Init(&htim6) != HAL_OK)
  {
    Error_Handler();
  }
  sMasterConfig.MasterOutputTrigger = TIM_TRGO_RESET;
  sMasterConfig.MasterSlaveMode = TIM_MASTERSLAVEMODE_DISABLE;
  if (HAL_TIMEx_MasterConfigSynchronization(&htim6, &sMasterConfig) != HAL_OK)
  {
    Error_Handler();
  }

}

static void MX_UART4_Init(void)
{

  huart4.Instance = UART4;
  huart4.Init.BaudRate = 115200;
  huart4.Init.WordLength = UART_WORDLENGTH_8B;
  huart4.Init.StopBits = UART_STOPBITS_1;
  huart4.Init.Parity = UART_PARITY_NONE;
  huart4.Init.Mode = UART_MODE_TX_RX;
  huart4.Init.HwFlowCtl = UART_HWCONTROL_NONE;
  huart4.Init.OverSampling = UART_OVERSAMPLING_16;
  if (HAL_UART_Init(&huart4) != HAL_OK)
  {
    Error_Handler();
  }

}

static void MX_UART5_Init(void)
{

  huart5.Instance = UART5;
  huart5.Init.BaudRate = 115200;
  huart5.Init.WordLength = UART_WORDLENGTH_8B;
  huart5.Init.StopBits = UART_STOPBITS_1;
  huart5.Init.Parity = UART_PARITY_NONE;
  huart5.Init.Mode = UART_MODE_TX_RX;
  huart5.Init.HwFlowCtl = UART_HWCONTROL_NONE;
  huart5.Init.OverSampling = UART_OVERSAMPLING_16;
  if (HAL_UART_Init(&huart5) != HAL_OK)
  {
    Error_Handler();
  }

}

static void MX_USART1_UART_Init(void)
{

  huart1.Instance = USART1;
  huart1.Init.BaudRate = 9600;
  huart1.Init.WordLength = UART_WORDLENGTH_8B;
  huart1.Init.StopBits = UART_STOPBITS_1;
  huart1.Init.Parity = UART_PARITY_NONE;
  huart1.Init.Mode = UART_MODE_TX_RX;
  huart1.Init.HwFlowCtl = UART_HWCONTROL_NONE;
  huart1.Init.OverSampling = UART_OVERSAMPLING_16;
  if (HAL_UART_Init(&huart1) != HAL_OK)
  {
    Error_Handler();
  }

}

static void MX_USART2_UART_Init(void)
{

  huart2.Instance = USART2;
  huart2.Init.BaudRate = 115200;
  huart2.Init.WordLength = UART_WORDLENGTH_8B;
  huart2.Init.StopBits = UART_STOPBITS_1;
  huart2.Init.Parity = UART_PARITY_NONE;
  huart2.Init.Mode = UART_MODE_TX_RX;
  huart2.Init.HwFlowCtl = UART_HWCONTROL_NONE;
  huart2.Init.OverSampling = UART_OVERSAMPLING_16;
  if (HAL_UART_Init(&huart2) != HAL_OK)
  {
    Error_Handler();
  }

}

static void MX_DMA_Init(void)
{

  /* DMA controller clock enable */
  __HAL_RCC_DMA1_CLK_ENABLE();

  /* DMA interrupt init */
  /* DMA1_Channel5_IRQn interrupt configuration */
  HAL_NVIC_SetPriority(DMA1_Channel5_IRQn, 0, 0);
  HAL_NVIC_EnableIRQ(DMA1_Channel5_IRQn);
  /* DMA1_Channel7_IRQn interrupt configuration */
  HAL_NVIC_SetPriority(DMA1_Channel7_IRQn, 0, 0);
  HAL_NVIC_EnableIRQ(DMA1_Channel7_IRQn);

}

static void MX_GPIO_Init(void)
{
  GPIO_InitTypeDef GPIO_InitStruct = {0};

  /* GPIO Ports Clock Enable */
  __HAL_RCC_GPIOC_CLK_ENABLE();
  __HAL_RCC_GPIOD_CLK_ENABLE();
  __HAL_RCC_GPIOA_CLK_ENABLE();
  __HAL_RCC_GPIOB_CLK_ENABLE();

  /*Configure GPIO pin Output Level */
  HAL_GPIO_WritePin(RF_CS_GPIO_Port, RF_CS_Pin, GPIO_PIN_SET);

  /*Configure GPIO pin Output Level */
  HAL_GPIO_WritePin(RF_EN_GPIO_Port, RF_EN_Pin, GPIO_PIN_RESET);

  /*Configure GPIO pin : ROLE_Pin */
  GPIO_InitStruct.Pin = ROLE_Pin;
  GPIO_InitStruct.Mode = GPIO_MODE_INPUT;
  GPIO_InitStruct.Pull = GPIO_NOPULL;
  HAL_GPIO_Init(ROLE_GPIO_Port, &GPIO_InitStruct);

  /*Configure GPIO pin : RF_CS_Pin */
  GPIO_InitStruct.Pin = RF_CS_Pin;
  GPIO_InitStruct.Mode = GPIO_MODE_OUTPUT_PP;
  GPIO_InitStruct.Pull = GPIO_NOPULL;
  GPIO_InitStruct.Speed = GPIO_SPEED_FREQ_HIGH;
  HAL_GPIO_Init(RF_CS_GPIO_Port, &GPIO_InitStruct);

  /*Configure GPIO pin : RF_INT_Pin */
  GPIO_InitStruct.Pin = RF_INT_Pin;
  GPIO_InitStruct.Mode = GPIO_MODE_INPUT;
  GPIO_InitStruct.Pull = GPIO_PULLUP;
  HAL_GPIO_Init(RF_INT_GPIO_Port, &GPIO_InitStruct);

  /*Configure GPIO pin : RF_EN_Pin */
  GPIO_InitStruct.Pin = RF_EN_Pin;
  GPIO_InitStruct.Mode = GPIO_MODE_OUTPUT_PP;
  GPIO_InitStruct.Pull = GPIO_NOPULL;
  GPIO_InitStruct.Speed = GPIO_SPEED_FREQ_MEDIUM;
  HAL_GPIO_Init(RF_EN_GPIO_Port, &GPIO_InitStruct);

  /*Configure GPIO pin : DHT_Pin */
  GPIO_InitStruct.Pin = DHT_Pin;
  GPIO_InitStruct.Mode = GPIO_MODE_INPUT;
  GPIO_InitStruct.Pull = GPIO_NOPULL;
  HAL_GPIO_Init(DHT_GPIO_Port, &GPIO_InitStruct);

  /* USER CODE BEGIN MX_GPIO_Init_2 */
  const GPIO_PinState ROLE_PRIMARY = GPIO_PIN_RESET;
  if (HAL_GPIO_ReadPin(ROLE_GPIO_Port, ROLE_Pin) == ROLE_PRIMARY) return; // Be free to return to main and work!

  // If secondary system light up STAT3 and do nothing else
  GPIO_InitStruct.Pin = LED_STAT3_Pin;
  GPIO_InitStruct.Mode = GPIO_MODE_OUTPUT_PP;
  GPIO_InitStruct.Pull = GPIO_NOPULL;
  GPIO_InitStruct.Speed = GPIO_SPEED_FREQ_LOW;
  HAL_GPIO_Init(LED_STAT3_GPIO_Port, &GPIO_InitStruct);
  HAL_GPIO_WritePin(LED_STAT3_GPIO_Port, LED_STAT3_Pin, GPIO_PIN_SET);
  while (1) {
	  // Stay trapped here and do nothing as secondary
	  // Do not start the UART with the RPi or else it will contest with the primary board's comms
  }
  /* USER CODE END MX_GPIO_Init_2 */
}

/* USER CODE BEGIN 4 */
/**
  * @brief  Retargets the C library printf function to the USART.
  * @param  None
  * @retval None
  */
PUTCHAR_PROTOTYPE
{
  /* Place your implementation of fputc here */
  /* e.g. write a character to the USART1 and Loop until the end of transmission */
  HAL_UART_Transmit(&huart4, (uint8_t *)&ch, 1, 0xFFFF);

  return ch;
}

inline static void update_wheel_status(volatile struct WheelStatus* status, uint32_t capture_period_count) {
	// Using #define to compile hardcoded constant
#define SPOKES 13.0 // The number of spokes (counts) per complete wheel rotation
#define US_PER_COUNT 3.0 // The number of microseconds per clock tick

#define COUNT_TO_KM_P_H (3600000.0 * WHEEL_CIRCUMFERENCE_M / (SPOKES * US_PER_COUNT)) // Divide this by period in count to get speed in km/h

	float speed_km_p_h = COUNT_TO_KM_P_H / (float)(capture_period_count);

	status->speed_kmph = speed_km_p_h;

	status->spoke++;
	if (status->spoke >= SPOKES) {
		status->spoke = 0;
		status->rotations++;
	}

#undef SPOKES
#undef US_PER_COUNT
#undef COUNT_TO_KM_P_H
}

inline static uint16_t calculate_co2_ppm(uint32_t duty_count, uint32_t period_count) {
	// Duty should always be smaller than the full period
	if (duty_count > period_count) {
		return -1;
	}
	const float duty = (float)duty_count;
	const float period = (float)period_count;

	// To deal with the 5% tolerance on timing the measurements are all derived from portions

	const float END_PORTION = 2.0 / 1004.0; // The portion of constant dead time for high and low portions
	const float END_TIME = period * END_PORTION;
	const float HIGH_TIME = duty - END_TIME;

	// Check if the pulse captured was too small and mistaken for negative
	if (HIGH_TIME < 0) {
		return -1;
	}

	const float DATA_PERIOD = period * (1 - (2 * END_PORTION)); // Discount the high and low dead time
	const float PORTION = HIGH_TIME / DATA_PERIOD; // The actual data duty/portion discounting the holds at each level

	const float PPM_RANGE = 5000.0; // Range of measurement for the CO2 sensor installed
	return (uint16_t)(PORTION * PPM_RANGE);
}

void HAL_TIM_IC_CaptureCallback (TIM_HandleTypeDef * htim) {
	uint32_t captured_value = HAL_TIM_ReadCapturedValue(htim, TIM_CHANNEL_1); // All our captures need channel 1 value

	/* For wheel speeds we want to ignore the first capture after an overflow since
	 * it will not properly represent speed since we won't know how many timeouts
	 * have elapsed and accidentally give a false high speed
	 *
	 * To that end if speed is 0 we do one update to a miniscule speed so the next
	 * update recognizes a non-zero value.
	 *
	 * We won't bother with a spoke count update on the first post timeout edge
	 * as it might very well be a reversed rotation. Realistically in normal
	 * operation when we care for distance we won't be going slow enough for this
	 * to matter.
	 */

	if (htim->Instance == REAR_ENC_TIMER.Instance) {
		if (summary.rear_wheel.speed_kmph != 0) update_wheel_status(&summary.rear_wheel, captured_value);
		else {
			summary.rear_wheel.speed_kmph = 0.1;
		}
		return;
	}
	if (htim->Instance == FRONT_ENC_TIMER.Instance) {
		if (summary.front_wheel.speed_kmph != 0) update_wheel_status(&summary.front_wheel, captured_value);
		else {
			summary.front_wheel.speed_kmph = 0.1;
		}
		return;
	}

	if (htim->Instance == CO2_TIMER.Instance) {
		// CO2 calculation
		uint32_t duty_period = HAL_TIM_ReadCapturedValue(htim, TIM_CHANNEL_2);
		mh_z19_co2_ppm = calculate_co2_ppm(duty_period, captured_value);
		return;
	}
}

void HAL_TIM_PeriodElapsedCallback (TIM_HandleTypeDef * htim) {
	if (htim->Instance == CO2_TIMER.Instance) {
		mh_z19_co2_ppm = 0;
		return;
	}
}

void HAL_TIM_OC_DelayElapsedCallback (TIM_HandleTypeDef * htim) {
	// On a timeout we've probably stopped
	if (htim->Instance == REAR_ENC_TIMER.Instance) {
		summary.rear_wheel.speed_kmph = 0;
		return;
	}
	if (htim->Instance == FRONT_ENC_TIMER.Instance) {
		summary.front_wheel.speed_kmph = 0;
		return;
	}
}

void HAL_UARTEx_RxEventCallback(UART_HandleTypeDef *huart, uint16_t Size) {
	if (huart == &GPS_UART) gps_message_length = Size;
	if (huart == &PRIM_UART) rpi_message_length = Size;
	if (huart == &SEC_UART) stm_message_length = Size;
	// Leave the trigger for the next DMA until after the buffer parsed or copied elsewhere to prevent the current message being lost
}

void HAL_UART_ErrorCallback(UART_HandleTypeDef *huart) {
	HAL_IWDG_Refresh(&hiwdg); // Allow the lights to flash for a bit before we recover

	uint32_t error_code = huart->ErrorCode;

	if (error_code == HAL_UART_ERROR_ORE) {
		// As per 27.6.1 in reference manual we can clear this error flag by reading SR and then DR
		(void) huart->Instance->SR;
		(void) huart->Instance->DR;
		if (huart->ErrorCode == HAL_UART_ERROR_ORE) {
			if (huart == &GPS_UART) printf("Error OVERRUN on GPS line PERSISTS\r\n");
			if (huart == &PRIM_UART) printf("Error OVERRUN on primary line PERSISTS\r\n");
			if (huart == &SEC_UART) printf("Error OVERRUN on secondary line PERSISTS\r\n");
		}
		else {
			if (huart == &GPS_UART) printf("Error OVERRUN on GPS line CLEARED. Comms may need a few transactions to recover fully.\r\n");
			if (huart == &PRIM_UART) printf("Error OVERRUN on primary line CLEARED. Comms may need a few transactions to recover fully.\r\n");
			if (huart == &SEC_UART) printf("Error OVERRUN on secondary line CLEARED. Comms may need a few transactions to recover fully.\r\n");
			return;
		}
	}
	else {
		if (huart == &GPS_UART) printf("Error %ld on GPS line\r\n", error_code);
		if (huart == &PRIM_UART) printf("Error %ld on primary line\r\n", error_code);
		if (huart == &SEC_UART) printf("Error %ld on secondary line\r\n", error_code);
	}

	Error_Handler();
}
/* USER CODE END 4 */

void Error_Handler(void)
{
  /* USER CODE BEGIN Error_Handler_Debug */
	/* User can add his own implementation to report the HAL error return state */
	__disable_irq();

	// Reconfigure the status LEDs to be off other than red flashing
	TIM_OC_InitTypeDef sConfigOC = {0};
	htim3.Instance = TIM3;
	htim3.Init.Prescaler = 7199; // Down to count at 10 kHz
	htim3.Init.CounterMode = TIM_COUNTERMODE_UP;
	htim3.Init.Period = 999;
	htim3.Init.ClockDivision = TIM_CLOCKDIVISION_DIV1;
	htim3.Init.AutoReloadPreload = TIM_AUTORELOAD_PRELOAD_DISABLE;
	HAL_TIM_Base_Init(&htim3);

	sConfigOC.OCMode = TIM_OCMODE_PWM1;
	sConfigOC.Pulse = htim3.Init.Period / 2; // 50% duty
	sConfigOC.OCPolarity = TIM_OCPOLARITY_HIGH;
	sConfigOC.OCFastMode = TIM_OCFAST_DISABLE;
	HAL_TIM_PWM_ConfigChannel(&htim3, &sConfigOC, TIM_CHANNEL_1);
	sConfigOC.Pulse = 0;
	HAL_TIM_PWM_ConfigChannel(&htim3, &sConfigOC, TIM_CHANNEL_2);
	HAL_TIM_PWM_ConfigChannel(&htim3, &sConfigOC, TIM_CHANNEL_3);

	HAL_IWDG_Refresh(&hiwdg); // Allow the lights to flash for a bit before we recover
	while (1) {
	}
  /* USER CODE END Error_Handler_Debug */
}
